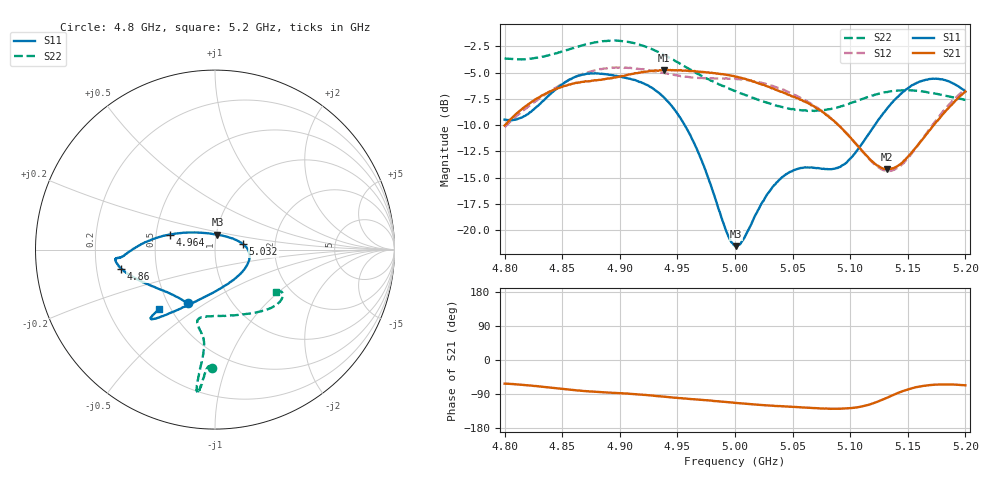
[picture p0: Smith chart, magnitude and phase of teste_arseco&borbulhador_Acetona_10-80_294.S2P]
! Network Analyzer HP8722D
! Hewlett-Packard
! Data name: Linha & Wilkinson
! Saver's name: Rodrigo Anjos
! Comments: Teste da utilização de aquisição
! continua pelo VNA HP8722D
! Time and date: 17/4/2025 16:48
!  Frequency  S11  S21  S12  S22
# HZ  S  MA R 50
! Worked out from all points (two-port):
!   401 points, 4.8 GHz to 5.2 GHz, reference 50 ohm
!   highest |S21| = -4.75 dB at 4.938 GHz (marker M1); lowest = -14.2 dB at 5.132 GHz (marker M2)
!   |S21| within 3 dB of the highest: 4.824 GHz to 5.06 GHz (236.4 MHz wide, 4.78 % of centre); 5.190707 GHz to end of sweep
!   lowest |S11| = -21.5 dB at 5.001 GHz (marker M3), VSWR 1.18, Z = 50.7 + j8.47 ohm
!   |S11| at or under -10 dB: 4.956 GHz to 5.121 GHz (164.8 MHz wide, 3.27 % of centre)
!   |S22| runs from -8.6 to -1.9 dB; largest |S21 - S12| = 0.87
!   S11 on the Smith chart (normalised r, x): 4.8 GHz: 0.63, -0.42; 4.86 GHz: 0.31, -0.09; 4.964 GHz: 0.59, +0.11; 5.032 GHz: 1.37, +0.09; 5.2 GHz: 0.43, -0.36
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4.8e9  0.3363 -116.9  0.3152 -62.3  0.3098 -176.5  0.6576 -91.4
4.819e9  0.3543 -137.2  0.3926 -66.6  0.3809 -176.1  0.6532 -93.1
4.86e9  0.5333 -168.4  0.4988 -79.3  0.5306 -179.4  0.736 -95.5
4.867e9  0.5483 -171.2  0.5079 -81.3  0.5516 179.2  0.757 -95.8
4.898e9  0.5415 -175.1  0.5359 -87.2  0.5937 173.4  0.798 -97.0
4.934e9  0.4503 179.2  0.5757 -95.7  0.5665 170.0  0.7018 -97.4
4.938e9  0.4307 177.4  0.5791 -96.7  0.5599 170.0  0.6842 -97.2
4.964e9  0.2637 161.4  0.5707 -103.6  0.5327 172.0  0.5692 -96.4
4.993e9  0.09725 111.4  0.5484 -111.2  0.5276 174.2  0.4778 -98.9
5e9  0.08474 84.4  0.5391 -113.1  0.5257 174.4  0.4595 -100.2
5.001e9  0.0841 80.5  0.5377 -113.1  0.5247 174.2  0.4586 -100.4
5.007e9  0.09011 57.7  0.5271 -114.9  0.5196 174.1  0.444 -101.7
5.032e9  0.1589 11.2  0.4737 -120.5  0.4877 173.1  0.3974 -103.3
5.048e9  0.19 -4.0  0.4388 -123.2  0.4503 172.2  0.3779 -99.2
5.067e9  0.1991 -24.2  0.3925 -126.6  0.3975 172.1  0.3704 -88.3
5.096e9  0.2085 -74.7  0.2922 -127.9  0.293 174.8  0.3951 -65.9
5.119e9  0.3036 -109.6  0.213 -115.2  0.2111 -170.4  0.4378 -50.5
5.132e9  0.3795 -120.1  0.1953 -99.6  0.1918 -152.9  0.4545 -44.1
5.134e9  0.3911 -121.4  0.1958 -96.9  0.1915 -149.9  0.4574 -43.3
5.146e9  0.4561 -127.0  0.2124 -81.7  0.2078 -132.4  0.4638 -38.8
5.168e9  0.523 -132.2  0.295 -66.7  0.2988 -113.1  0.4518 -33.5
5.2e9  0.4565 -133.3  0.4572 -66.9  0.468 -109.0  0.4168 -35.0
